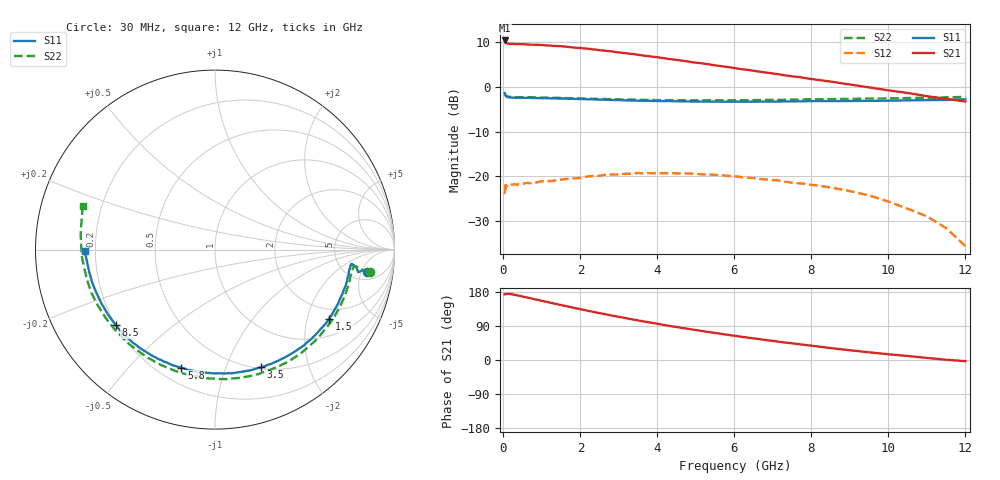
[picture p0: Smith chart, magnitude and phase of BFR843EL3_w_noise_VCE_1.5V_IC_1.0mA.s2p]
! Infineon Technologies  Discrete & RF Semiconductors
! BFR843EL3
! VCE =  1.5 V,  IC =  1.0 mA
! Common Emitter S-Parameters:  Aug 2013
# GHz  S  MA  R  50
!  f  S11  S21  S12  S22
! GHz  MAG  ANG  MAG  ANG  MAG  ANG  MAG  ANG
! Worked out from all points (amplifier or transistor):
!   103 points, 30 MHz to 12 GHz, reference 50 ohm
!   highest |S21| = 10.4 dB at 30 MHz (marker M1)
!   |S21| within 3 dB of that: start of sweep to 3.31 GHz
!   unconditionally stable (mu >= 1): 96.61 MHz to 811.9 MHz; 7.118 GHz to end of sweep
!   at 400 MHz: K = 1.03, MAG = 14.6 dB, |S12| = -21.7 dB
!   at 3.7 GHz: K = 0.75, MSG = 13.1 dB, |S12| = -19.3 dB
!   at 12 GHz: K = 8.38, MAG = 4.0 dB, |S12| = -35.7 dB
!   lowest NFmin = 1.54 dB at 450 MHz
!   S11 on the Smith chart (normalised r, x): 30 MHz: 6.83, -6.38; 1.5 GHz: 1.58, -2.73; 3.5 GHz: 0.51, -1.33; 5.8 GHz: 0.29, -0.71; 8.5 GHz: 0.20, -0.32; 12 GHz: 0.16, -0.00
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0.03  0.8557 -8.4  3.322 173.3  0.0636 39.0  0.8703 -8.3
0.04  0.8297 -8.0  3.227 173.6  0.0693 33.3  0.8387 -8.1
0.05  0.8079 -9.0  3.186 174.6  0.0846 21.8  0.8252 -7.7
0.06  0.7912 -6.7  3.143 173.9  0.0728 18.6  0.8086 -7.6
0.08  0.7803 -6.5  3.093 174.6  0.0781 17.3  0.7935 -7.1
0.2  0.761 -6.4  3.031 173.8  0.0808 8.5  0.7753 -8.0
0.5  0.7552 -11.3  3.021 167.3  0.0822 4.4  0.7691 -15.5
0.9  0.7514 -19.5  2.966 158.4  0.0862 4.6  0.7636 -26.5
1.5  0.7437 -31.4  2.861 144.9  0.092 3.7  0.754 -43.0
2.1  0.7317 -43.2  2.703 131.9  0.0977 0.2  0.7436 -58.5
2.8  0.7165 -56.4  2.513 117.6  0.1047 -3.3  0.7306 -75.3
3.5  0.7038 -68.8  2.295 104.4  0.1087 -9.8  0.7188 -90.5
4.1  0.6958 -79.1  2.119 93.8  0.1081 -15.2  0.7132 -102.4
5.1  0.6871 -95.2  1.853 77.3  0.1057 -24.9  0.7079 -120.2
5.8  0.6843 -105.9  1.677 66.8  0.1013 -31.9  0.7107 -131.3
6.1  0.6865 -110.2  1.604 62.5  0.099 -34.7  0.7121 -135.9
7.2  0.6886 -125.8  1.375 47.6  0.0889 -44.3  0.7183 -150.8
8.5  0.6952 -142.8  1.15 31.4  0.075 -57.8  0.7328 -166.6
9.5  0.6999 -154.7  0.99 20.3  0.061 -69.4  0.7429 -177.0
10.5  0.7087 -165.3  0.857 10.6  0.0433 -82.9  0.753 173.7
11.5  0.717 -175.1  0.737 0.7  0.0263 -102.9  0.7657 165.3
12  0.7268 -179.6  0.687 -3.1  0.0165 -112.9  0.7754 161.7
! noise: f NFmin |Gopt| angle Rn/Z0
0.45  1.54  0.4  4  0.43
0.9  1.59  0.39  15  0.45
1.5  1.63  0.39  24  0.47
1.9  1.66  0.4  29  0.47
2.4  1.71  0.41  36  0.42
3.5  1.86  0.39  60  0.38
5.5  2.19  0.41  94  0.29
8  2.64  0.47  137  0.21
10  2.99  0.47  192  0.17
